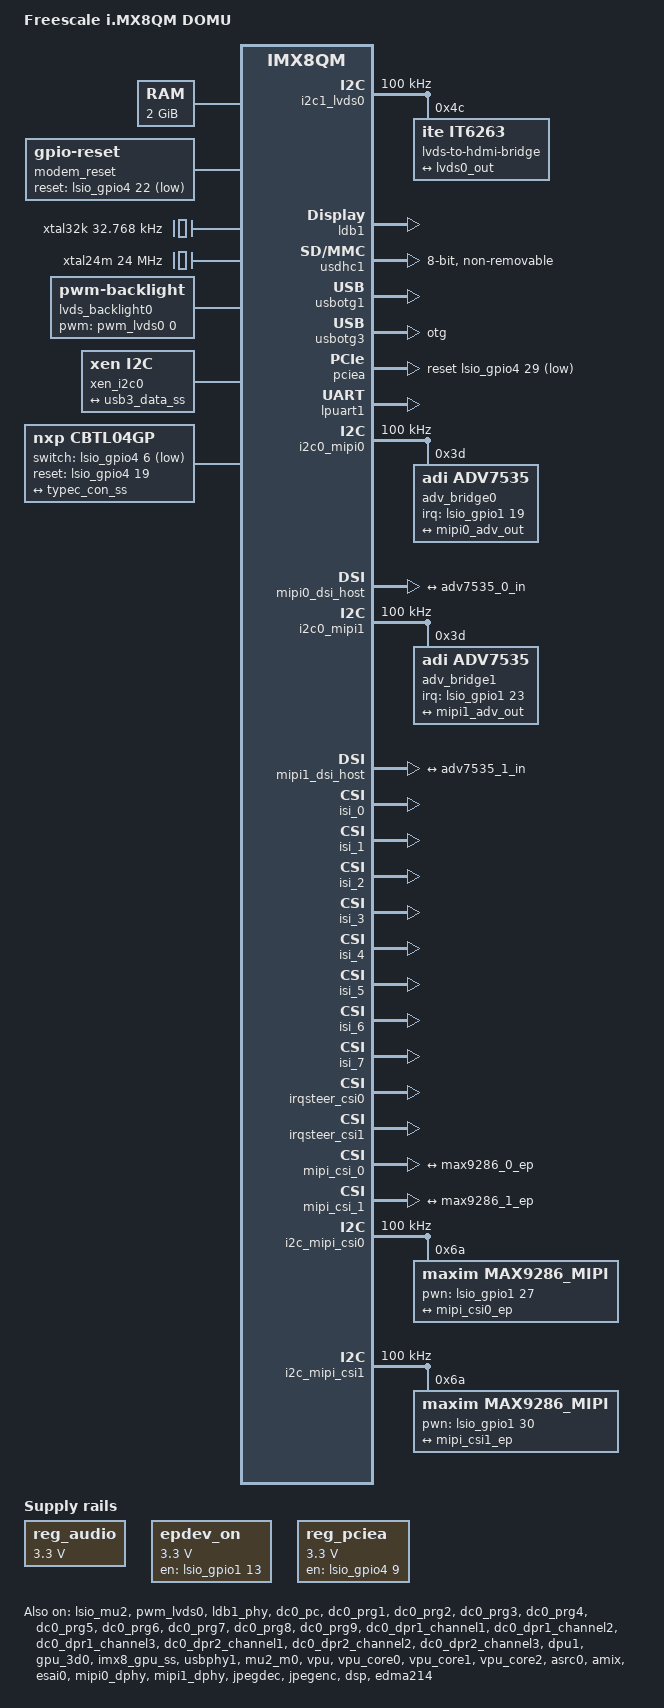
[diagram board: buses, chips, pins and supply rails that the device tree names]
// SPDX-License-Identifier: GPL-2.0+
/*
 * Copyright 2019 NXP
 */

/dts-v1/;

#include <dt-bindings/interrupt-controller/arm-gic.h>
#include <dt-bindings/clock/imx8-clock.h>
#include <dt-bindings/input/input.h>
#include <dt-bindings/firmware/imx/rsrc.h>
#include <dt-bindings/pinctrl/pads-imx8qm.h>
#include <dt-bindings/gpio/gpio.h>
#include <dt-bindings/thermal/thermal.h>
#include <dt-bindings/usb/pd.h>

/*
 * At current stage, M41 is not ready to communicate with XEN, so we
 * we need a way to tell XEN uboot is running or linux is running.
 * XEN will check the contents of this area.
 * So reserve a page at the beginning of GUEST_RAM0_BASE to avoid Linux
 * touch this area.
 */
/memreserve/ 0x80000000 0x1000;

/ {
	model = "Freescale i.MX8QM DOMU";
	compatible = "fsl,imx8qm-mek", "fsl,imx8qm", "xen,xenvm-4.10", "xen,xenvm";
	interrupt-parent = <&gic>;
	#address-cells = <0x2>;
	#size-cells = <0x2>;

	aliases {
		mmc0 = &usdhc1;
		dpu0 = &dpu1;
		ldb0 = &ldb1;
		serial1 = &lpuart1;
		isi0 = &isi_0;
		isi1 = &isi_1;
		isi2 = &isi_2;
		isi3 = &isi_3;
		isi4 = &isi_4;
		isi5 = &isi_5;
		isi6 = &isi_6;
		isi7 = &isi_7;
		csi0 = &mipi_csi_0;
		csi1 = &mipi_csi_1;
		mu1 = &lsio_mu1;
		mu2 = &lsio_mu2;
		dphy0 = &mipi0_dphy;
		dphy1 = &mipi1_dphy;
		mipi_dsi0 = &mipi0_dsi_host;
		mipi_dsi1 = &mipi1_dsi_host;
	};

	cpus {
		#address-cells = <0x2>;
		#size-cells = <0x0>;

		cpu@0 {
			device_type = "cpu";
			compatible = "arm,armv8";
			enable-method = "psci";
			reg = <0x0 0x0>;
		};

		cpu@1 {
			device_type = "cpu";
			compatible = "arm,armv8";
			enable-method = "psci";
			reg = <0x0 0x1>;
		};

		cpu@2 {
			device_type = "cpu";
			compatible = "arm,armv8";
			enable-method = "psci";
			reg = <0x0 0x2>;
		};

		cpu@3 {
			device_type = "cpu";
			compatible = "arm,armv8";
			enable-method = "psci";
			reg = <0x0 0x3>;
		};
	};

	psci {
		compatible = "arm,psci-1.0";
		method = "hvc";
	};

	memory@80000000 {
		device_type = "memory";
		/* Will be updated by U-Boot or XEN TOOL */
		reg = <0x00000000 0x80000000 0 0x80000000>;
	};

	/*
	 * The reserved memory will be used when using U-Boot loading android
	 * image. For booting kernel using xl tool, pass args:
	 * cma=960M@2400M-3584M
	 */
	reserved-memory {
		#address-cells = <2>;
		#size-cells = <2>;
		ranges;
		passthrough;

		decoder_boot: decoder_boot@84000000 {
			no-map;
			reg = <0 0x84000000 0 0x2000000>;
		};
		dsp_reserved: dsp@92400000 {
			reg = <0 0x92400000 0 0x1000000>;
			no-map;
		};
		dsp_reserved_heap: dsp_reserved_heap {
			reg = <0 0x93400000 0 0xef0000>;
			no-map;
		};
		dsp_vdev0vring0: vdev0vring0@942f0000 {
			reg = <0 0x942f0000 0 0x8000>;
			no-map;
		};
		dsp_vdev0vring1: vdev0vring1@942f8000 {
			reg = <0 0x942f8000 0 0x8000>;
			no-map;
		};
		dsp_vdev0buffer: vdev0buffer@94300000 {
			compatible = "shared-dma-pool";
			reg = <0 0x94300000 0 0x100000>;
			no-map;
		};
		encoder1_boot: encoder1_boot@86000000 {
			no-map;
			reg = <0 0x86000000 0 0x200000>;
		};
		encoder2_boot: encoder2_boot@86200000 {
			no-map;
			reg = <0 0x86200000 0 0x200000>;
		};
		decoder_rpc: decoder_rpc@92000000 {
			no-map;
			reg = <0 0x92000000 0 0x100000>;
		};
		encoder1_rpc: encoder1_rpc@94200000 {
			no-map;
			reg = <0 0x94200000 0 0x700000>;
		};
		encoder2_rpc: encoder2_rpc@94900000 {
			no-map;
			reg = <0 0x94900000 0 0x700000>;
		};
		ts_boot: ts_boot@95000000 {
			no-map;
			reg = <0 0x95000000 0 0x400000>;
		};

		/* global autoconfigured region for contiguous allocations */
		linux,cma {
			compatible = "shared-dma-pool";
			reusable;
			size = <0 0x3c000000>;
			alloc-ranges = <0 0xc0000000 0 0x3c000000>;
			linux,cma-default;
		};

	};

	gic: interrupt-controller@3001000 {
		compatible = "arm,gic-v3";
		#interrupt-cells = <3>;
		#address-cells = <0x0>;
		interrupt-controller;
		redistributor-stride = <0x20000>;
		#redistributor-regions = <0x1>;
		reg = <0x0 0x3001000 0 0x10000>, /* GIC Dist */
		      <0x0 0x3020000 0 0x1000000>; /* GICR */
		interrupts = <GIC_PPI 9 (GIC_CPU_MASK_SIMPLE(6) | IRQ_TYPE_LEVEL_HIGH)>;
		interrupt-parent = <&gic>;
		linux,phandle = <0xfde8>;
		phandle = <0xfde8>;
	};

	timer {
		compatible = "arm,armv8-timer";
		interrupts = <GIC_PPI 13 (GIC_CPU_MASK_SIMPLE(6) | IRQ_TYPE_LEVEL_LOW)>,
			     <GIC_PPI 14 (GIC_CPU_MASK_SIMPLE(6) | IRQ_TYPE_LEVEL_LOW)>,
			     <GIC_PPI 11 (GIC_CPU_MASK_SIMPLE(6) | IRQ_TYPE_LEVEL_LOW)>;
		interrupt-parent = <&gic>;
		clock-frequency = <8000000>;
	};

	hypervisor {
		compatible = "xen,xen-4.11", "xen,xen";
		reg = <0x0 0x38000000 0x0 0x1000000>;
		interrupts = <GIC_PPI 15 (GIC_CPU_MASK_SIMPLE(6) | IRQ_TYPE_LEVEL_LOW)>;
		interrupt-parent = <&gic>;
	};

	clocks {
		#address-cells = <1>;
		#size-cells = <0>;

		clk0: clock@0 {
		        compatible = "fixed-clock";
		        reg = <0>;
		        #clock-cells = <0>;
		        clock-frequency = <24000000>;
		};
	};

	rtc0: rtc@23000000 {
		compatible = "arm,pl031", "arm,primecell";
		reg = <0x0 0x23000000 0x0 0x1000>;
		interrupts = <GIC_SPI 1 IRQ_TYPE_LEVEL_HIGH>;
		clocks = <&clk0>;
		clock-names = "apb_pclk";
	};

	modem_reset: modem-reset {
		compatible = "gpio-reset";
		pinctrl-names = "default", "sleep";
		pinctrl-0 = <&pinctrl_modem_reset>;
		pinctrl-1 = <&pinctrl_modem_reset_sleep>;
		reset-gpios = <&lsio_gpio4 22 GPIO_ACTIVE_LOW>;
		reset-delay-us = <2000>;
		reset-post-delay-ms = <40>;
		#reset-cells = <0>;
		xen,passthrough;
	};

	passthrough {
		compatible = "simple-bus";
		ranges;
		#address-cells = <2>;
		#size-cells = <2>;

		clk_dummy: clock-dummy {
			compatible = "fixed-clock";
			#clock-cells = <0>;
			clock-frequency = <0>;
			clock-output-names = "clk_dummy";
		};

		xtal32k: clock-xtal32k {
			compatible = "fixed-clock";
			#clock-cells = <0>;
			clock-frequency = <32768>;
			clock-output-names = "xtal_32KHz";
		};

		xtal24m: clock-xtal24m {
			compatible = "fixed-clock";
			#clock-cells = <0>;
			clock-frequency = <24000000>;
			clock-output-names = "xtal_24MHz";
		};

		system-controller {
			compatible = "fsl,imx-scu";
			mbox-names = "tx0", "tx1", "tx2", "tx3",
				     "rx0", "rx1", "rx2", "rx3",
				     "gip3";
			mboxes = <&lsio_mu2 0 0
				  &lsio_mu2 0 1
				  &lsio_mu2 0 2
				  &lsio_mu2 0 3
				  &lsio_mu2 1 0
				  &lsio_mu2 1 1
				  &lsio_mu2 1 2
				  &lsio_mu2 1 3
				  &lsio_mu2 3 3>;

			pd: power-controller {
				compatible = "fsl,imx8qm-scu-pd", "fsl,scu-pd";
				#power-domain-cells = <1>;
			};

			clk: clock-controller {
				compatible = "fsl,imx8qm-clk", "fsl,scu-clk";
				#clock-cells = <2>;
			};

			iomuxc: pinctrl {
				compatible = "fsl,imx8qm-iomuxc";
			};

		};

		#include "imx8-ss-conn.dtsi"
		#include "imx8-ss-lsio.dtsi"
		#include "imx8-ss-gpu0.dtsi"
		#include "imx8-ss-gpu1.dtsi"
		#include "imx8-ss-vpu.dtsi"

		brcmfmac: brcmfmac {
			compatible = "cypress,brcmfmac";
			pinctrl-names = "init", "idle", "default";
			pinctrl-0 = <&pinctrl_wifi_init>;
			pinctrl-1 = <&pinctrl_wifi_init>;
			pinctrl-2 = <&pinctrl_wifi>;
		};

		lvds_backlight0: lvds_backlight@0 {
			compatible = "pwm-backlight";
			pwms = <&pwm_lvds0 0 100000 0>;

			brightness-levels = < 0  1  2  3  4  5  6  7  8  9
					     10 11 12 13 14 15 16 17 18 19
					     20 21 22 23 24 25 26 27 28 29
					     30 31 32 33 34 35 36 37 38 39
					     40 41 42 43 44 45 46 47 48 49
					     50 51 52 53 54 55 56 57 58 59
					     60 61 62 63 64 65 66 67 68 69
					     70 71 72 73 74 75 76 77 78 79
					     80 81 82 83 84 85 86 87 88 89
					     90 91 92 93 94 95 96 97 98 99
					    100>;
			default-brightness-level = <80>;
		};
	};

	#include "imx8-ss-dc0.dtsi"
	#include "imx8-ss-dc1.dtsi"
	#include "imx8-ss-audio.dtsi"
	#include "imx8-ss-hsio.dtsi"
	#include "imx8-ss-dma.dtsi"
	#include "imx8-ss-img.dtsi"

	scu_key: keys {
		compatible = "fsl,imx8qm-sc-key", "fsl,imx-sc-key";
		linux,keycode = <KEY_POWER>;
		xen,passthrough;
	};

	reg_audio: fixedregulator@2 {
		compatible = "regulator-fixed";
		regulator-name = "cs42888_supply";
		regulator-min-microvolt = <3300000>;
		regulator-max-microvolt = <3300000>;
		regulator-always-on;
		xen,passthrough;
	};

	epdev_on: fixedregulator@100 {
		compatible = "regulator-fixed";
		pinctrl-names = "default", "sleep";
		pinctrl-0 = <&pinctrl_wlreg_on>;
		pinctrl-1 = <&pinctrl_wlreg_on_sleep>;
		regulator-min-microvolt = <3300000>;
		regulator-max-microvolt = <3300000>;
		regulator-name = "epdev_on";
		gpio = <&lsio_gpio1 13 0>;
		enable-active-high;
		xen,passthrough;
	};

	reg_pciea: regulator-pcie {
		compatible = "regulator-fixed";
		pinctrl-names = "default";
		pinctrl-0 = <&pinctrl_pciea_reg>;
		regulator-name = "mpcie_3v3";
		regulator-min-microvolt = <3300000>;
		regulator-max-microvolt = <3300000>;
		gpio = <&lsio_gpio4 9 GPIO_ACTIVE_HIGH>;
		enable-active-high;
	};

	sound-cs42888 {
		compatible = "fsl,imx8qm-sabreauto-cs42888",
				 "fsl,imx-audio-cs42888";
		model = "imx-cs42888";
		esai-controller = <&esai0>;
		audio-codec = <&cs42888>;
		audio-asrc = <&asrc0>;
		status = "okay";
		xen,passthrough;
	};

	xen_i2c0: xen_i2c@0 {
		compatible = "xen,i2c";
		be-adapter = "5a800000.i2c";
		status = "okay";
		xen,passthrough;
	};

	xen_i2c1: xen_i2c@1 {
		compatible = "xen,i2c";
		be-adapter = "3b230000.i2c";
		xen,passthrough;
		status = "okay";
	};

	cbtl04gp {
		compatible = "nxp,cbtl04gp";
		pinctrl-names = "default";
		pinctrl-0 = <&pinctrl_typec_mux>;
		switch-gpios = <&lsio_gpio4 6 GPIO_ACTIVE_LOW>;
		reset-gpios = <&lsio_gpio4 19 GPIO_ACTIVE_HIGH>;
		orientation-switch;
		xen,passthrough;

		port {
			usb3_data_ss: endpoint {
				remote-endpoint = <&typec_con_ss>;
			};
		};
	};

	vpu_subsys_dsp: bus@55000000 {
		compatible = "simple-bus";
		#address-cells = <1>;
		#size-cells = <1>;
		ranges = <0x55000000 0x0 0x55000000 0x1000000>;
		xen,passthrough;

		dsp: dsp@556e8000 {
			compatible = "fsl,imx8qm-hifi4";
			reg = <0x556e8000 0x88000>;
			clocks = <&clk_dummy>,
				 <&clk_dummy>,
				 <&clk_dummy>;
			clock-names = "core", "ipg", "ocram";
			firmware-name = "imx/dsp/hifi4.bin";
			power-domains = <&pd IMX_SC_R_MU_13A>,
					<&pd IMX_SC_R_MU_13B>,
					<&pd IMX_SC_R_DSP>,
					<&pd IMX_SC_R_DSP_RAM>;
			memory-region = <&dsp_vdev0buffer>, <&dsp_vdev0vring0>,
					<&dsp_vdev0vring1>, <&dsp_reserved>;
			status = "disabled";
		};
	};

};

#include "imx8qm-ss-conn.dtsi"
#include "imx8qm-ss-lsio.dtsi"
#include "imx8qm-ss-dc.dtsi"
#include "imx8qm-ss-gpu.dtsi"
#include "imx8qm-ss-lvds.dtsi"
#include "imx8qm-ss-mipi.dtsi"
#include "imx8qm-ss-hdmi.dtsi"
#include "imx8qm-ss-audio.dtsi"
#include "imx8qm-ss-hsio.dtsi"
#include "imx8qm-ss-dma.dtsi"
#include "imx8qm-ss-mipi.dtsi"
#include "imx8qm-ss-hdmi.dtsi"
#include "imx8qm-ss-img.dtsi"

/ {
	display-subsystem {
		xen,passthrough;
		compatible = "fsl,imx-display-subsystem";
		ports = <&dpu1_disp0>, <&dpu1_disp1>;
	};
};

&lsio_mu13 {
	xen,passthrough;
};

&dc0_subsys {
	xen,passthrough;
};

&dma_subsys {
	xen,passthrough;
	compatible = "simple-bus";
	#address-cells = <1>;
	#size-cells = <1>;
	ranges = <0x5a000000 0x0 0x5a000000 0x1000000>;


	edma214: dma-controller@5a2e0000 {
		compatible = "fsl,imx8qm-edma";
		reg = <0x5a1f0000 0x10000>,
		      <0x5a2e0000 0x10000>, /* channel14 UART1 rx */
		      <0x5a2f0000 0x10000>; /* channel15 UART1 tx */
		#dma-cells = <3>;
		dma-channels = <2>;
		interrupts = <GIC_SPI 436 IRQ_TYPE_LEVEL_HIGH>,
			     <GIC_SPI 437 IRQ_TYPE_LEVEL_HIGH>;
		interrupt-names = "edma0-chan14-rx", "edma0-chan15-tx";
		power-domains = <&pd IMX_SC_R_DMA_0_CH14>,
				<&pd IMX_SC_R_DMA_0_CH15>;
		power-domain-names = "edma0-chan14", "edma0-chan15";
		status = "okay";
	};
};

&audio_subsys {
	xen,passthrough;
};

&hsio_subsys {
	xen,passthrough;
};

&lvds1_subsys {
	xen,passthrough;
};

&hdmi_subsys {
	xen,passthrough;
};

&lsio_mu1 {
	status = "disabled";
};

&lsio_mu2 {
	status = "okay";
};

&pwm_lvds0 {
	pinctrl-names = "default";
	pinctrl-0 = <&pinctrl_pwm_lvds0>;
	status = "okay";
};

&i2c1_lvds0 {
	#address-cells = <1>;
	#size-cells = <0>;
	pinctrl-names = "default";
	pinctrl-0 = <&pinctrl_lvds0_lpi2c1>;
	clock-frequency = <100000>;
	status = "okay";

	lvds-to-hdmi-bridge@4c {
		compatible = "ite,it6263";
		reg = <0x4c>;

		port {
			it6263_0_in: endpoint {
				remote-endpoint = <&lvds0_out>;
			};
		};
	};
};

&ldb1_phy {
	status="okay";
};

&ldb1 {
	status="okay";

	lvds-channel@0 {
		fsl,data-mapping = "jeida";
		fsl,data-width = <24>;
		status = "okay";

		port@1 {
			reg = <1>;

			lvds0_out: endpoint {
				remote-endpoint = <&it6263_0_in>;
			};
		};
	};
};

&dc0_pc {
	status="okay";
};

&dc0_prg1 {
	status="okay";
};

&dc0_prg2 {
	status="okay";
};

&dc0_prg3 {
	status="okay";
};

&dc0_prg4 {
	status="okay";
};

&dc0_prg5 {
	status="okay";
};

&dc0_prg6 {
	status="okay";
};

&dc0_prg7 {
	status="okay";
};

&dc0_prg8 {
	status="okay";
};

&dc0_prg9 {
	status="okay";
};

&dc0_dpr1_channel1 {
	status="okay";
};

&dc0_dpr1_channel2 {
	status="okay";
};

&dc0_dpr1_channel3 {
	status="okay";
};

&dc0_dpr2_channel1 {
	status="okay";
};

&dc0_dpr2_channel2 {
	status="okay";
};

&dc0_dpr2_channel3 {
	status="okay";
};

&dpu1 {
	status="okay";
};

&gpu_3d0 {
	status = "okay";
};

&gpu_3d1 {
	status = "disabled";
};

&imx8_gpu_ss {
	/* xen guests have 2GB of low RAM @ 2GB */
	reg = <0x80000000 0x80000000>, <0x0 0x10000000>;
	reg-names = "phys_baseaddr", "contiguous_mem";
	cores = <&gpu_3d0>;
	status = "okay";
};

&iomuxc {

	pinctrl_wifi: wifigrp{
		fsl,pins = <
			IMX8QM_SCU_GPIO0_07_SCU_DSC_RTC_CLOCK_OUTPUT_32K	0x20
		>;
	};

	pinctrl_wifi_init: wifi_initgrp{
		fsl,pins = <
			/* reserve pin init/idle_state to support multiple wlan cards */
		>;
	};

	pinctrl_pwm_lvds0: pwmlvds0grp {
		fsl,pins = <
			IMX8QM_LVDS0_GPIO00_LVDS0_PWM0_OUT		0x00000020
		>;
	};

	pinctrl_lvds0_lpi2c1: lvds0lpi2c1grp {
		fsl,pins = <
			IMX8QM_LVDS0_I2C1_SCL_LVDS0_I2C1_SCL	0xc600004c
			IMX8QM_LVDS0_I2C1_SDA_LVDS0_I2C1_SDA	0xc600004c
		>;
	};

	pinctrl_typec: typecgrp {
		fsl,pins = <
			IMX8QM_QSPI1A_DATA0_LSIO_GPIO4_IO26		0x00000021
		>;
	};

	pinctrl_typec_mux: typecmuxgrp {
		fsl,pins = <
			IMX8QM_QSPI1A_SS0_B_LSIO_GPIO4_IO19		0x60
			IMX8QM_USB_SS3_TC3_LSIO_GPIO4_IO06		0x60
		>;
	};

	pinctrl_usbotg1: usbotg1 {
		fsl,pins = <
			IMX8QM_USB_SS3_TC0_CONN_USB_OTG1_PWR		0x00000021
		>;
	};

	pinctrl_usdhc1: usdhc1grp {
		fsl,pins = <
			IMX8QM_EMMC0_CLK_CONN_EMMC0_CLK				0x06000041
			IMX8QM_EMMC0_CMD_CONN_EMMC0_CMD				0x00000021
			IMX8QM_EMMC0_DATA0_CONN_EMMC0_DATA0			0x00000021
			IMX8QM_EMMC0_DATA1_CONN_EMMC0_DATA1			0x00000021
			IMX8QM_EMMC0_DATA2_CONN_EMMC0_DATA2			0x00000021
			IMX8QM_EMMC0_DATA3_CONN_EMMC0_DATA3			0x00000021
			IMX8QM_EMMC0_DATA4_CONN_EMMC0_DATA4			0x00000021
			IMX8QM_EMMC0_DATA5_CONN_EMMC0_DATA5			0x00000021
			IMX8QM_EMMC0_DATA6_CONN_EMMC0_DATA6			0x00000021
			IMX8QM_EMMC0_DATA7_CONN_EMMC0_DATA7			0x00000021
			IMX8QM_EMMC0_STROBE_CONN_EMMC0_STROBE			0x00000041
		>;
	};

	pinctrl_esai0: esai0grp {
		fsl,pins = <
			IMX8QM_ESAI0_FSR_AUD_ESAI0_FSR				0xc6000040
			IMX8QM_ESAI0_FST_AUD_ESAI0_FST				0xc6000040
			IMX8QM_ESAI0_SCKR_AUD_ESAI0_SCKR			0xc6000040
			IMX8QM_ESAI0_SCKT_AUD_ESAI0_SCKT			0xc6000040
			IMX8QM_ESAI0_TX0_AUD_ESAI0_TX0				0xc6000040
			IMX8QM_ESAI0_TX1_AUD_ESAI0_TX1				0xc6000040
			IMX8QM_ESAI0_TX2_RX3_AUD_ESAI0_TX2_RX3			0xc6000040
			IMX8QM_ESAI0_TX3_RX2_AUD_ESAI0_TX3_RX2			0xc6000040
			IMX8QM_ESAI0_TX4_RX1_AUD_ESAI0_TX4_RX1			0xc6000040
			IMX8QM_ESAI0_TX5_RX0_AUD_ESAI0_TX5_RX0			0xc6000040
		>;
	};

	pinctrl_pciea: pcieagrp{
		fsl,pins = <
			IMX8QM_PCIE_CTRL0_WAKE_B_LSIO_GPIO4_IO28		0x04000021
			IMX8QM_PCIE_CTRL0_PERST_B_LSIO_GPIO4_IO29		0x06000021
		>;
	};

	pinctrl_pciea_reg: pcieareggrp {
		fsl,pins = <
			IMX8QM_USDHC2_RESET_B_LSIO_GPIO4_IO09			0x06000021
		>;
	};

	pinctrl_wlreg_on: wlregongrp{
		fsl,pins = <
			IMX8QM_LVDS1_I2C0_SDA_LSIO_GPIO1_IO13		0x06000000
		>;
	};

	pinctrl_wlreg_on_sleep: wlregon_sleepgrp{
		fsl,pins = <
			IMX8QM_LVDS1_I2C0_SDA_LSIO_GPIO1_IO13		0x07800000
		>;
	};

	pinctrl_lpuart1: lpuart1grp {
		fsl,pins = <
			IMX8QM_UART1_RX_DMA_UART1_RX		0x06000020
			IMX8QM_UART1_TX_DMA_UART1_TX		0x06000020
			IMX8QM_UART1_CTS_B_DMA_UART1_CTS_B	0x06000020
			IMX8QM_UART1_RTS_B_DMA_UART1_RTS_B	0x06000020
		>;
	};

	pinctrl_modem_reset: modemresetgrp {
		fsl,pins = <
			IMX8QM_QSPI1A_DQS_LSIO_GPIO4_IO22		0x06000021
		>;
	};

	pinctrl_modem_reset_sleep: modemreset_sleepgrp {
		fsl,pins = <
			IMX8QM_QSPI1A_DQS_LSIO_GPIO4_IO22		0x07800021
		>;
	};

	pinctrl_i2c_mipi_csi0: i2c_mipi_csi0 {
		fsl,pins = <
			IMX8QM_MIPI_CSI0_I2C0_SCL_MIPI_CSI0_I2C0_SCL		0xc2000020
			IMX8QM_MIPI_CSI0_I2C0_SDA_MIPI_CSI0_I2C0_SDA		0xc2000020
		>;
	};

	pinctrl_i2c_mipi_csi1: i2c_mipi_csi1 {
		fsl,pins = <
			IMX8QM_MIPI_CSI1_I2C0_SCL_MIPI_CSI1_I2C0_SCL		0xc2000020
			IMX8QM_MIPI_CSI1_I2C0_SDA_MIPI_CSI1_I2C0_SDA		0xc2000020
		>;
	};

	pinctrl_mipi_csi0: mipi_csi0 {
		fsl,pins = <
			IMX8QM_MIPI_CSI0_GPIO0_00_LSIO_GPIO1_IO27		0xC0000041
			IMX8QM_MIPI_CSI0_GPIO0_01_LSIO_GPIO1_IO28		0xC0000041
			IMX8QM_MIPI_CSI0_MCLK_OUT_MIPI_CSI0_ACM_MCLK_OUT	0xC0000041
		>;
	};

	pinctrl_mipi_csi1: mipi_csi1 {
		fsl,pins = <
			IMX8QM_MIPI_CSI1_GPIO0_00_LSIO_GPIO1_IO30		0xC0000041
			IMX8QM_MIPI_CSI1_GPIO0_01_LSIO_GPIO1_IO31		0xC0000041
			IMX8QM_MIPI_CSI1_MCLK_OUT_MIPI_CSI1_ACM_MCLK_OUT	0xC0000041
		>;
	};

	pinctrl_isl29023: isl29023grp {
		fsl,pins = <
			IMX8QM_USDHC2_WP_LSIO_GPIO4_IO11		0x00000021
		>;
	};

	pinctrl_mipi0_lpi2c0: mipi0_lpi2c0grp {
		fsl,pins = <
			IMX8QM_MIPI_DSI0_I2C0_SCL_MIPI_DSI0_I2C0_SCL      0xc6000020
			IMX8QM_MIPI_DSI0_I2C0_SDA_MIPI_DSI0_I2C0_SDA      0xc6000020
			IMX8QM_MIPI_DSI0_GPIO0_01_LSIO_GPIO1_IO19         0x00000020
		>;
	};

	pinctrl_mipi1_lpi2c0: mipi1_lpi2c0grp {
		fsl,pins = <
			IMX8QM_MIPI_DSI1_I2C0_SCL_MIPI_DSI1_I2C0_SCL      0xc6000020
			IMX8QM_MIPI_DSI1_I2C0_SDA_MIPI_DSI1_I2C0_SDA      0xc6000020
			IMX8QM_MIPI_DSI1_GPIO0_01_LSIO_GPIO1_IO23         0x00000020
		>;
	};
};

&usdhc1 {
	/delete-property/ iommus;
	pinctrl-names = "default", "state_100mhz", "state_200mhz";
	pinctrl-0 = <&pinctrl_usdhc1>;
	pinctrl-1 = <&pinctrl_usdhc1>;
	pinctrl-2 = <&pinctrl_usdhc1>;
	bus-width = <8>;
	no-sd;
	no-sdio;
	non-removable;
	status = "okay";
};

&usdhc2 {
	/delete-property/ iommus;
	status = "disabled";
};

&usdhc3 {
	/delete-property/ iommus;
	status = "disabled";
};

&fec1 {
	/delete-property/ iommus;
	status = "disabled";
};

&fec2 {
	/delete-property/ iommus;
	status = "disabled";
};

&usbphy1 {
	status = "okay";
};

&usbotg1 {
	pinctrl-names = "default";
	pinctrl-0 = <&pinctrl_usbotg1>;
	srp-disable;
	hnp-disable;
	adp-disable;
	power-active-high;
	disable-over-current;
	status = "okay";
};

/*
&usb3phynop1 {
	status = "okay";
};
*/

&usbotg3 {
	dr_mode = "otg";
	extcon = <&ptn5110>;
	status = "okay";
	/delete-property/ iommus;
};

&xen_i2c0 {
	#address-cells = <1>;
	#size-cells = <0>;
	clock-frequency = <100000>;
	status = "okay";

	isl29023@44 {
		pinctrl-names = "default";
		pinctrl-0 = <&pinctrl_isl29023>;
		compatible = "isil,isl29023";
		reg = <0x44>;
		rext = <499>;
		interrupt-parent = <&lsio_gpio4>;
		interrupts = <11 2>;
	};

	fxos8700@1e {
		compatible = "nxp,fxos8700";
		reg = <0x1e>;
		interrupt-open-drain;
	};

	fxas2100x@20 {
		compatible = "nxp,fxas21002c";
		reg = <0x20>;
		interrupt-open-drain;
	};

	max7322: gpio@68 {
		compatible = "maxim,max7322";
		reg = <0x68>;
		gpio-controller;
		#gpio-cells = <2>;
	};

	mpl3115@60 {
		compatible = "fsl,mpl3115";
		reg = <0x60>;
		interrupt-open-drain;
	};

	ptn5110: tcpc@51 {
		compatible = "nxp,ptn5110";
		pinctrl-names = "default";
		pinctrl-0 = <&pinctrl_typec>;
		reg = <0x51>;
		interrupt-parent = <&lsio_gpio4>;
		interrupts = <26 IRQ_TYPE_LEVEL_LOW>;
		status = "okay";

		usb_con1: connector {
			compatible = "usb-c-connector";
			label = "USB-C";
			power-role = "source";
			data-role = "dual";
			source-pdos = <PDO_FIXED(5000, 3000, PDO_FIXED_USB_COMM)>;

			ports {
				#address-cells = <1>;
				#size-cells = <0>;

				port@1 {
					reg = <1>;
					typec_con_ss: endpoint {
						remote-endpoint = <&usb3_data_ss>;
					};
				};
			};
		};
	};
};

&mu_m0{
	interrupts = <GIC_SPI 472 IRQ_TYPE_LEVEL_HIGH>;
};

&mu1_m0{
	interrupts = <GIC_SPI 473 IRQ_TYPE_LEVEL_HIGH>;
};

&mu2_m0{
	interrupts = <GIC_SPI 474 IRQ_TYPE_LEVEL_HIGH>;
	status = "okay";
};

/*
&mu3_m0{
	interrupts = <GIC_SPI 475 IRQ_TYPE_LEVEL_HIGH>;
	status = "okay";
};
*/

&vpu {
	compatible = "nxp,imx8qm-vpu";
	status = "okay";
};

&vpu_core0 {
	reg = <0x2d080000 0x10000>;
	memory-region = <&decoder_boot>, <&decoder_rpc>;
	status = "okay";
};

&vpu_core1 {
	reg = <0x2d090000 0x10000>;
	memory-region = <&encoder1_boot>, <&encoder1_rpc>;
	status = "okay";
};

&vpu_core2 {
	reg = <0x2d0a0000 0x10000>;
	memory-region = <&encoder2_boot>, <&encoder2_rpc>;
	status = "okay";
};

/*
&vpu_ts {
	compatible = "nxp,imx8qm-b0-vpu-ts";
	boot-region = <&ts_boot>;
	reg-csr = <0x2d0b0000>;
	status = "okay";
};
*/

&lsio_gpio4 {
	/delete-property/ power-domains;
};

&lsio_gpio1 {
	/delete-property/ power-domains;
};

/* Audio */
&dsp {
	compatible = "fsl,imx8qm-hifi4";
	status = "okay";
};

&asrc0 {
	fsl,asrc-rate  = <48000>;
	status = "okay";
};

&amix {
	status = "okay";
};

&esai0 {
	pinctrl-names = "default";
	pinctrl-0 = <&pinctrl_esai0>;
	assigned-clocks = <&acm IMX_ADMA_ACM_ESAI0_MCLK_SEL>,
			<&clk IMX_SC_R_AUDIO_PLL_0 IMX_SC_PM_CLK_PLL>,
			<&clk IMX_SC_R_AUDIO_PLL_0 IMX_SC_PM_CLK_SLV_BUS>,
			<&clk IMX_SC_R_AUDIO_PLL_0 IMX_SC_PM_CLK_MST_BUS>,
			<&esai0_lpcg 0>;
	assigned-clock-parents = <&aud_pll_div0_lpcg 0>;
	assigned-clock-rates = <0>, <786432000>, <49152000>, <12288000>, <49152000>;
	fsl,txm-rxs;
	status = "okay";
};

&sai1 {
	assigned-clocks = <&clk IMX_SC_R_AUDIO_PLL_0 IMX_SC_PM_CLK_PLL>,
			<&clk IMX_SC_R_AUDIO_PLL_0 IMX_SC_PM_CLK_SLV_BUS>,
			<&clk IMX_SC_R_AUDIO_PLL_0 IMX_SC_PM_CLK_MST_BUS>,
			<&sai1_lpcg 0>; /* FIXME: should be sai1, original code is 0 */
	assigned-clock-rates = <786432000>, <49152000>, <12288000>, <49152000>;
	pinctrl-names = "default";
	/*pinctrl-0 = <&pinctrl_sai1>;*/
	status = "disabled";
};

&sai6 {
	assigned-clocks = <&acm IMX_ADMA_ACM_SAI6_MCLK_SEL>,
			<&clk IMX_SC_R_AUDIO_PLL_1 IMX_SC_PM_CLK_PLL>,
			<&clk IMX_SC_R_AUDIO_PLL_1 IMX_SC_PM_CLK_SLV_BUS>,
			<&clk IMX_SC_R_AUDIO_PLL_1 IMX_SC_PM_CLK_MST_BUS>,
			<&sai6_lpcg 0>;
	assigned-clock-parents = <&aud_pll_div1_lpcg 0>;
	assigned-clock-rates = <0>, <786432000>, <98304000>, <12288000>, <98304000>;
	fsl,sai-asynchronous;
	fsl,txm-rxs;
	status = "disabled";
};

&usbotg3_cdns3 {
	/delete-property/ iommus;
	status = "disabled";
};
&sai7 {
	assigned-clocks = <&acm IMX_ADMA_ACM_SAI7_MCLK_SEL>,
			<&clk IMX_SC_R_AUDIO_PLL_1 IMX_SC_PM_CLK_PLL>,
			<&clk IMX_SC_R_AUDIO_PLL_1 IMX_SC_PM_CLK_SLV_BUS>,
			<&clk IMX_SC_R_AUDIO_PLL_1 IMX_SC_PM_CLK_MST_BUS>,
			<&sai7_lpcg 0>;
	assigned-clock-parents = <&aud_pll_div1_lpcg 0>;
	assigned-clock-rates = <0>, <786432000>, <98304000>, <12288000>, <98304000>;
	fsl,sai-asynchronous;
	fsl,txm-rxs;
	status = "disabled";
};

&xen_i2c1 {
	#address-cells = <1>;
	#size-cells = <0>;
	clock-frequency = <100000>;
	status = "okay";

	cs42888: cs42888@48 {
		compatible = "cirrus,cs42888";
		reg = <0x48>;
		clocks = <&mclkout0_lpcg 0>;
		clock-names = "mclk";
		VA-supply = <&reg_audio>;
		VD-supply = <&reg_audio>;
		VLS-supply = <&reg_audio>;
		VLC-supply = <&reg_audio>;
		reset-gpio = <&lsio_gpio4 25 GPIO_ACTIVE_LOW>;
		assigned-clocks = <&clk IMX_SC_R_AUDIO_PLL_0 IMX_SC_PM_CLK_PLL>,
				<&clk IMX_SC_R_AUDIO_PLL_0 IMX_SC_PM_CLK_SLV_BUS>,
				<&clk IMX_SC_R_AUDIO_PLL_0 IMX_SC_PM_CLK_MST_BUS>,
				<&mclkout0_lpcg 0>;
		assigned-clock-rates = <786432000>, <49152000>, <12288000>, <12288000>;
		fsl,txs-rxm;
		status = "okay";
	};
};

&sai6 {
	assigned-clocks = <&acm IMX_ADMA_ACM_SAI6_MCLK_SEL>,
			<&clk IMX_SC_R_AUDIO_PLL_1 IMX_SC_PM_CLK_PLL>,
			<&clk IMX_SC_R_AUDIO_PLL_1 IMX_SC_PM_CLK_SLV_BUS>,
			<&clk IMX_SC_R_AUDIO_PLL_1 IMX_SC_PM_CLK_MST_BUS>,
			<&sai6_lpcg 0>;
	assigned-clock-parents = <&aud_pll_div1_lpcg 0>;
	assigned-clock-rates = <0>, <786432000>, <98304000>, <12288000>, <98304000>;
	fsl,sai-asynchronous;
	fsl,txm-rxs;
	status = "disabled";
};

&sai7 {
	assigned-clocks = <&acm IMX_ADMA_ACM_SAI7_MCLK_SEL>,
			<&clk IMX_SC_R_AUDIO_PLL_1 IMX_SC_PM_CLK_PLL>,
			<&clk IMX_SC_R_AUDIO_PLL_1 IMX_SC_PM_CLK_SLV_BUS>,
			<&clk IMX_SC_R_AUDIO_PLL_1 IMX_SC_PM_CLK_MST_BUS>,
			<&sai7_lpcg 0>;
	assigned-clock-parents = <&aud_pll_div1_lpcg 0>;
	assigned-clock-rates = <0>, <786432000>, <98304000>, <12288000>, <98304000>;
	fsl,sai-asynchronous;
	fsl,txm-rxs;
	status = "disabled";
};

&sata {
	/delete-property/ iommus;
};

&pciea{
	pinctrl-names = "default";
	pinctrl-0 = <&pinctrl_pciea>;
	reset-gpio = <&lsio_gpio4 29 GPIO_ACTIVE_LOW>;
	ext_osc = <1>;
	epdev_on-supply = <&epdev_on>;
	vpcie-supply = <&reg_pciea>;
	status = "okay";
};

&pcieb{
	status = "disabled";
};

&edma2 {
	status = "disabled";
};

&lpuart1 {
	pinctrl-names = "default";
	pinctrl-0 = <&pinctrl_lpuart1>;
	resets = <&modem_reset>;
	status = "okay";
	dmas = <&edma214 15 0 0>, <&edma214 14 0 1>;
};

&img_subsys {
	xen,passthrough;
};

&hdmi_subsys {
	xen,passthrough;
};

&mipi0_subsys {
	xen,passthrough;
};

&mipi1_subsys {
	xen,passthrough;
};

&dsi_ipg_clk {
	xen,passthrough;
};

&mipi_pll_div2_clk {
	xen,passthrough;
};

&i2c0_mipi0 {
	#address-cells = <1>;
	#size-cells = <0>;
        pinctrl-names = "default";
        pinctrl-0 = <&pinctrl_mipi0_lpi2c0>;
	clock-frequency = <100000>;
	status = "okay";

	adv_bridge0: adv7535@3d {
		#address-cells = <1>;
		#size-cells = <0>;

		compatible = "adi,adv7535";
		reg = <0x3d>;
		adi,addr-cec = <0x3b>;
		adi,dsi-lanes = <4>;
		adi,dsi-channel = <1>;
		interrupt-parent = <&lsio_gpio1>;
		interrupts = <19 IRQ_TYPE_LEVEL_LOW>;
		status = "okay";

		port@0 {
			reg = <0>;
			adv7535_0_in: endpoint {
				remote-endpoint = <&mipi0_adv_out>;
			};
		};
	};
};

&mipi0_dphy {
	status = "okay";
};

&mipi0_dsi_host {
	status = "okay";

	ports {
		port@1 {
			reg = <1>;
			mipi0_adv_out: endpoint {
				remote-endpoint = <&adv7535_0_in>;
			};
		};
	};
};

&i2c0_mipi1 {
	#address-cells = <1>;
	#size-cells = <0>;
        pinctrl-names = "default";
        pinctrl-0 = <&pinctrl_mipi1_lpi2c0>;
	clock-frequency = <100000>;
	status = "okay";

	adv_bridge1: adv7535@3d {
		#address-cells = <1>;
		#size-cells = <0>;

		compatible = "adi,adv7535";
		reg = <0x3d>;
		adi,addr-cec = <0x3b>;
		adi,dsi-lanes = <4>;
		adi,dsi-channel = <1>;
		interrupt-parent = <&lsio_gpio1>;
		interrupts = <23 IRQ_TYPE_LEVEL_LOW>;
		status = "okay";

		port@0 {
			reg = <0>;
			adv7535_1_in: endpoint {
				remote-endpoint = <&mipi1_adv_out>;
			};
		};
	};
};

&mipi1_dphy {
	status = "okay";
};

&mipi1_dsi_host {
	status = "okay";

	ports {
		port@1 {
			reg = <1>;
			mipi1_adv_out: endpoint {
				remote-endpoint = <&adv7535_1_in>;
			};
		};
	};
};

&isi_0 {
	status = "okay";

	cap_device {
		status = "okay";
	};

	m2m_device {
		status = "okay";
	};
};

&isi_1 {
	status = "okay";

	cap_device {
		status = "okay";
	};
};

&isi_2 {
	status = "okay";

	cap_device {
		status = "okay";
	};
};

&isi_3 {
	status = "okay";

	cap_device {
		status = "okay";
	};
};

&isi_4 {
	status = "okay";

	cap_device {
		status = "okay";
	};
};

&isi_5 {
	status = "okay";

	cap_device {
		status = "okay";
	};
};

&isi_6 {
	status = "okay";

	cap_device {
		status = "okay";
	};
};

&isi_7 {
	status = "okay";

	cap_device {
		status = "okay";
	};
};

&irqsteer_csi0 {
	status = "okay";
};

&irqsteer_csi1 {
	status = "okay";
};

&mipi_csi_0 {
	#address-cells = <1>;
	#size-cells = <0>;
	virtual-channel;
	status = "okay";

	/* Camera 0  MIPI CSI-2 (CSIS0) */
	port@0 {
		reg = <0>;
		mipi_csi0_ep: endpoint {
			remote-endpoint = <&max9286_0_ep>;
			data-lanes = <1 2 3 4>;
		};
	};
};

&mipi_csi_1 {
	#address-cells = <1>;
	#size-cells = <0>;
	virtual-channel;
	status = "okay";

	/* Camera 1  MIPI CSI-2 (CSIS1) */
	port@1 {
		reg = <1>;
		mipi_csi1_ep: endpoint {
			remote-endpoint = <&max9286_1_ep>;
			data-lanes = <1 2 3 4>;
		};
	};
};

&jpegdec {
       status = "okay";
};

&jpegenc {
       status = "okay";
};

&i2c_mipi_csi0 {
	#address-cells = <1>;
	#size-cells = <0>;
	pinctrl-names = "default";
	pinctrl-0 = <&pinctrl_i2c_mipi_csi0>;
	clock-frequency = <100000>;
	status = "okay";

	max9286_mipi@6a {
		compatible = "maxim,max9286_mipi";
		reg = <0x6a>;
		pinctrl-names = "default";
		pinctrl-0 = <&pinctrl_mipi_csi0>;
		clocks = <&clk_dummy>;
		clock-names = "capture_mclk";
		mclk = <27000000>;
		mclk_source = <0>;
		pwn-gpios = <&lsio_gpio1 27 GPIO_ACTIVE_HIGH>;
		virtual-channel;
		status = "okay";
		port {
			max9286_0_ep: endpoint {
				remote-endpoint = <&mipi_csi0_ep>;
				data-lanes = <1 2 3 4>;
			};
		};
	};
};

&i2c_mipi_csi1 {
	#address-cells = <1>;
	#size-cells = <0>;
	pinctrl-names = "default";
	pinctrl-0 = <&pinctrl_i2c_mipi_csi1>;
	clock-frequency = <100000>;
	status = "okay";

	max9286_mipi@6a {
		compatible = "maxim,max9286_mipi";
		reg = <0x6a>;
		pinctrl-names = "default";
		pinctrl-0 = <&pinctrl_mipi_csi1>;
		clocks = <&clk_dummy>;
		clock-names = "capture_mclk";
		mclk = <27000000>;
		mclk_source = <0>;
		pwn-gpios = <&lsio_gpio1 30 GPIO_ACTIVE_HIGH>;
		virtual-channel;
		status = "okay";
		port {
			max9286_1_ep: endpoint {
				remote-endpoint = <&mipi_csi1_ep>;
				data-lanes = <1 2 3 4>;
			};
		};
	};

};
